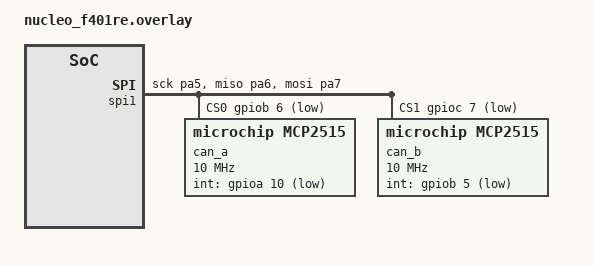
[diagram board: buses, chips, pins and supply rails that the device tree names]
/*
 * Lab 3 dual CAN on the handout pins (two XIAO MCP2515 modules on SPI1).
 *   SCK  D13 PA5  -> module D8 (both modules)
 *   MOSI D11 PA7  -> module D10 (both)  NOTE: handout Fig. 2 has D9/D10 swapped;
 *   MISO D12 PA6  <- module D9  (both)        real XIAO pinout is D9 MISO, D10 MOSI
 *   CAN A: CS D10 PB6, INT D2 PA10      CAN B: CS D9 PC7, INT D4 PB5
 *
 * Board defaults that sit on those pins are turned off below:
 *   LD2 (led0) and the TIM2 PWM LED are on PA5 = SCK, USART1 TX is on PB6,
 *   I2C1 (PB8/PB9) and I2C3 (PA8/PC9) are on later test-point pins.
 */
/ {
	chosen {
		zephyr,canbus = &can_a;
	};

	aliases {
		/delete-property/ led0;
		/delete-property/ pwm-led0;
		can-a = &can_a;
		can-b = &can_b;
	};
};

&{/pwmleds} { status = "disabled"; };
&timers2 { status = "disabled"; };
&usart1 { status = "disabled"; };
&i2c1 { status = "disabled"; };
&i2c3 { status = "disabled"; };

&spi1 {
	status = "okay";
	pinctrl-0 = <&spi1_sck_pa5 &spi1_miso_pa6 &spi1_mosi_pa7>;
	pinctrl-names = "default";
	cs-gpios = <&gpiob 6 (GPIO_ACTIVE_LOW | GPIO_PULL_UP)>,
		   <&gpioc 7 (GPIO_ACTIVE_LOW | GPIO_PULL_UP)>;

	can_a: mcp2515@0 {
		compatible = "microchip,mcp2515";
		reg = <0>;
		spi-max-frequency = <10000000>;	/* MCP2515 max; SPI1 divider gives 84/16 = 5.25 MHz */
		int-gpios = <&gpioa 10 GPIO_ACTIVE_LOW>;
		osc-freq = <16000000>;	/* must match the crystal on the module */
		bitrate = <500000>;
		status = "okay";
	};

	can_b: mcp2515@1 {
		compatible = "microchip,mcp2515";
		reg = <1>;
		spi-max-frequency = <10000000>;	/* MCP2515 max; SPI1 divider gives 84/16 = 5.25 MHz */
		int-gpios = <&gpiob 5 GPIO_ACTIVE_LOW>;
		osc-freq = <16000000>;	/* must match the crystal on the module */
		bitrate = <500000>;
		status = "okay";
	};
};
